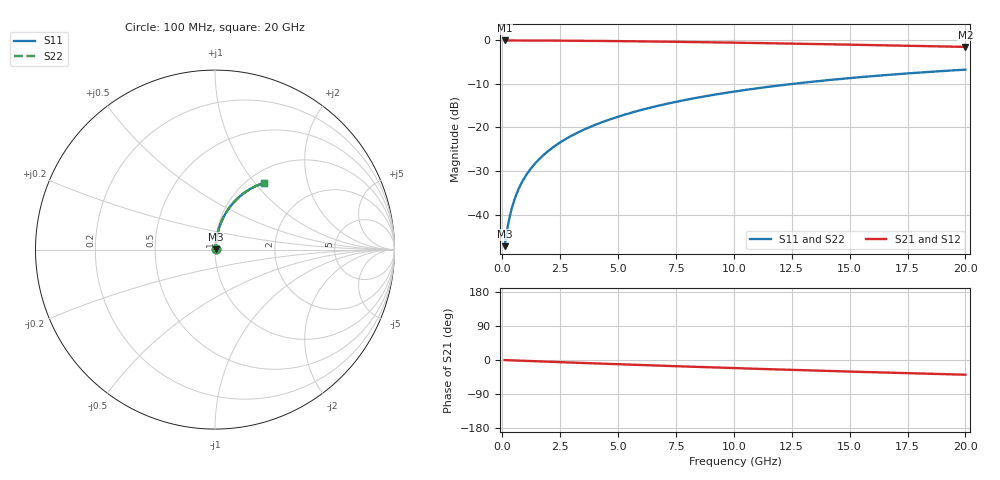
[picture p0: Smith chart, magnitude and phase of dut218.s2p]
! Touchstone file exported from HFSS 2024.1.0
!  File:  C:/UserFiles/LocalFiles/RDL_TSV_Batchsim/temp_RDL_bottom_218_1778700309.aedt
!  Generated:  03:27:50 AM May 14, 2026
!  Design:  RDL_bottom
!  Project:  temp_RDL_bottom_218_1778700309
!  Setup:  Setup1
!  Solution:  Sweep
! Variables:
!  dtsv = 10.80580581um
!  hbump = 3um
!  htsv = 65.77um
!  ldown = 472.43um
!  lrdl = 100um
!  p = 40
!  p1 = 54.5um
!  rhole = 1um
!  t = 450um
!  tdown = 4.47um
!  trdl = 3.915915916um
!  wdown = 11.38um
!  wrdl = 20um
# GHz S MA R 50.000000
! Terminal data exported
! Port[1] = RDL1_T1
! Port[2] = RDL1_T2
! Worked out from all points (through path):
!   200 points, 100 MHz to 20 GHz, reference 50 ohm
!   highest |S21| = -0.03 dB at 100 MHz (marker M1); lowest = -1.5 dB at 20 GHz (marker M2)
!   group delay of S21, straight-line fit = 5.38 ps
!   lowest |S11| = -47.3 dB at 100 MHz (marker M3), VSWR 1.01, Z = 50.3 + j0.277 ohm
!   |S11| at or under -10 dB: start of sweep to 12.54 GHz
!   |S22| runs from -47.3 to -6.7 dB; largest |S21 - S12| = 3.6e-15
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0.1  0.004338 39.4  0.9967 -0.2  0.9967 -0.2  0.004338 39.4
! Gamma 0 0 0 0
! Port Impedance 50 0 50 0
0.2  0.006471 58.3  0.9966 -0.5  0.9966 -0.5  0.006471 58.3
0.3  0.008953 67.1  0.9965 -0.7  0.9965 -0.7  0.008953 67.1
0.4  0.01155 71.9  0.9964 -0.9  0.9964 -0.9  0.01155 71.9
0.5  0.0142 74.8  0.9963 -1.2  0.9963 -1.2  0.01419 74.8
0.6  0.01686 76.8  0.9962 -1.4  0.9962 -1.4  0.01686 76.8
0.8  0.02219 79.1  0.9959 -1.8  0.9959 -1.8  0.02219 79.1
1.1  0.03018 80.8  0.9954 -2.5  0.9954 -2.5  0.03018 80.8
1.5  0.04081 81.7  0.9946 -3.4  0.9946 -3.4  0.0408 81.7
1.8  0.04876 82.0  0.9939 -4.1  0.9939 -4.1  0.04876 82.0
2.1  0.05671 82.0  0.993 -4.8  0.993 -4.8  0.05671 82.0
2.7  0.07258 81.7  0.991 -6.1  0.991 -6.1  0.07258 81.7
3.5  0.09368 80.9  0.9876 -7.9  0.9876 -7.9  0.09368 80.9
4.2  0.1121 80.0  0.9841 -9.4  0.9841 -9.4  0.1121 80.0
5  0.1329 78.8  0.9795 -11.1  0.9795 -11.1  0.1329 78.8
5.9  0.1562 77.3  0.9736 -13.1  0.9736 -13.1  0.1562 77.3
6.8  0.1791 75.8  0.9672 -14.9  0.9672 -14.9  0.1791 75.8
8.3  0.2167 73.2  0.9554 -18.0  0.9554 -18.0  0.2167 73.2
10.1  0.2602 70.1  0.9398 -21.5  0.9398 -21.5  0.2603 70.1
13.4  0.335 64.4  0.9083 -27.7  0.9083 -27.7  0.335 64.4
16.7  0.4021 58.9  0.8747 -33.4  0.8747 -33.4  0.4022 58.9
20  0.461 53.7  0.8404 -38.8  0.8404 -38.8  0.4611 53.7
